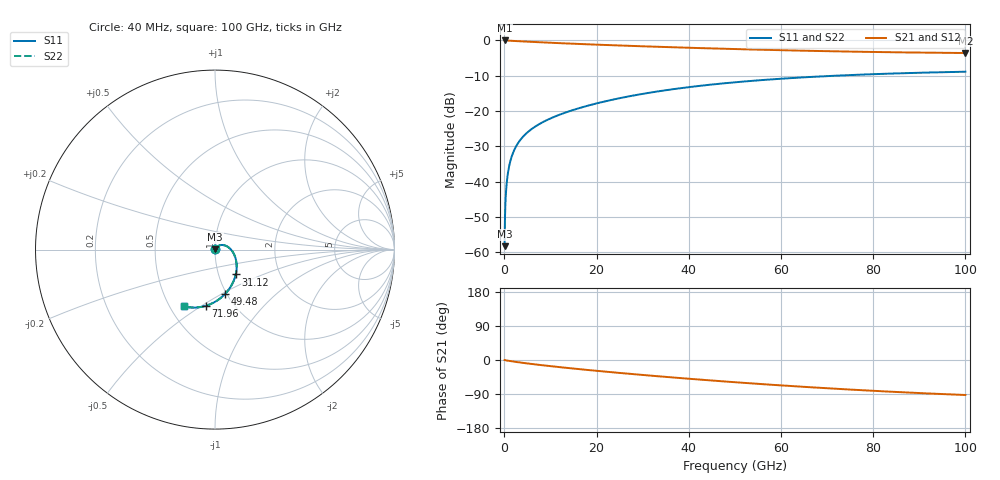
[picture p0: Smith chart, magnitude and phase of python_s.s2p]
! Created with skrf (http://scikit-rf.org).
# Hz S MA R 50.0
!freq magS11 angS11 magS21 angS21 magS12 angS12 magS22 angS22
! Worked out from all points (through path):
!   2500 points, 40 MHz to 100 GHz, reference 50 ohm
!   highest |S21| = 0.00 dB at 40 MHz (marker M1); lowest = -3.6 dB at 100 GHz (marker M2)
!   group delay of S21, straight-line fit = 2.47 ps
!   lowest |S11| = -58.2 dB at 40 MHz (marker M3), VSWR 1.00, Z = 50 + j0.116 ohm
!   |S11| at or under -10 dB: start of sweep to 71.52 GHz
!   |S22| runs from -58.2 to -8.9 dB; largest |S21 - S12| = 0
!   S11 on the Smith chart (normalised r, x): 40 MHz: 1.00, +0.00; 31.12 GHz: 1.21, -0.35; 49.48 GHz: 0.98, -0.52; 71.96 GHz: 0.75, -0.52; 100 GHz: 0.59, -0.43
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4e7  0.001225 71.7  0.9996 -0.1  0.9996 -0.1  0.001225 71.7
2.4e8  0.005406 66.8  0.9979 -0.7  0.9979 -0.7  0.005406 66.8
6e8  0.0111 61.7  0.9949 -1.5  0.9949 -1.5  0.0111 61.7
7.6e8  0.01329 59.8  0.9936 -1.8  0.9936 -1.8  0.01329 59.8
9.6e8  0.01583 57.8  0.992 -2.2  0.992 -2.2  0.01583 57.8
1.32e9  0.02 54.5  0.9891 -2.9  0.9891 -2.9  0.02 54.5
1.76e9  0.02458 50.9  0.9856 -3.8  0.9856 -3.8  0.02458 50.9
2.32e9  0.02983 46.8  0.9812 -4.8  0.9812 -4.8  0.02983 46.8
3.04e9  0.0359 42.0  0.9756 -6.0  0.9756 -6.0  0.0359 42.0
5.04e9  0.05025 30.5  0.9608 -9.2  0.9608 -9.2  0.05025 30.5
7.84e9  0.06708 16.9  0.9414 -13.3  0.9414 -13.3  0.06708 16.9
1.168e10  0.08749 1.1  0.9171 -18.4  0.9171 -18.4  0.08749 1.1
1.672e10  0.1126 -15.9  0.8886 -24.7  0.8886 -24.7  0.1126 -15.9
2.34e10  0.1448 -33.9  0.8553 -32.4  0.8553 -32.4  0.1448 -33.9
3.112e10  0.1804 -50.2  0.8216 -40.7  0.8216 -40.7  0.1804 -50.2
3.336e10  0.1903 -54.2  0.8126 -42.9  0.8126 -42.9  0.1903 -54.2
4.948e10  0.2539 -77.4  0.7567 -58.2  0.7567 -58.2  0.2539 -77.4
5.004e10  0.2559 -78.0  0.755 -58.7  0.755 -58.7  0.2559 -78.0
6.668e10  0.3049 -94.8  0.7117 -72.1  0.7117 -72.1  0.3049 -94.8
7.196e10  0.3172 -99.2  0.7007 -75.9  0.7007 -75.9  0.3172 -99.2
8.336e10  0.3389 -107.8  0.6816 -83.4  0.6816 -83.4  0.3389 -107.8
1e11  0.361 -119.1  0.6643 -92.4  0.6643 -92.4  0.361 -119.1
